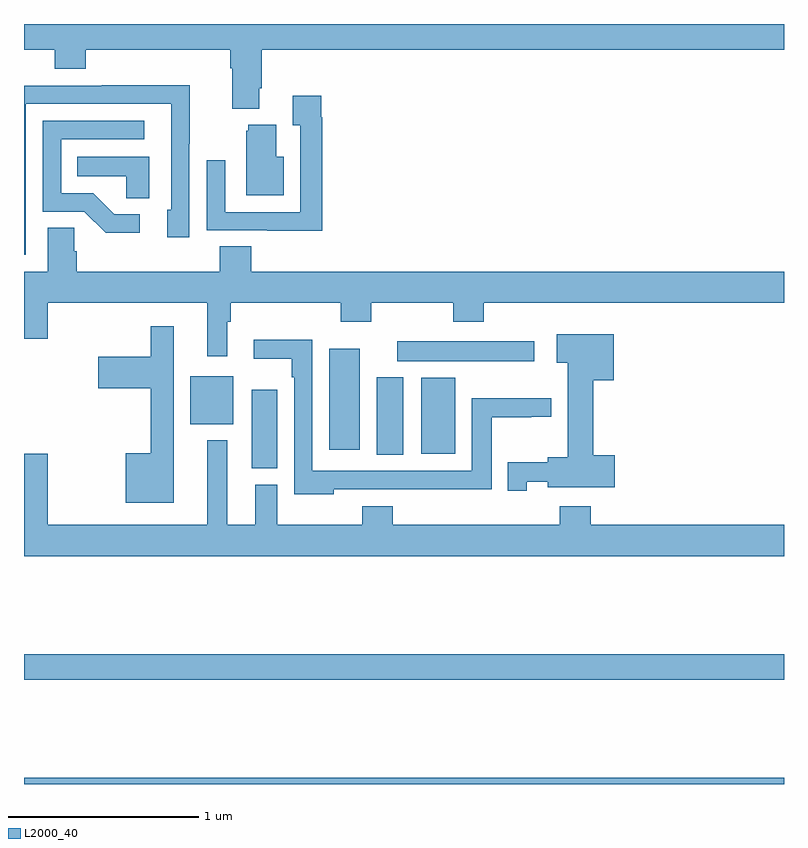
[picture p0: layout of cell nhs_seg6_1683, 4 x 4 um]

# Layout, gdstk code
import gdstk
lib = gdstk.Library(unit=1e-6, precision=1e-09)
def R(c, l, rs):  # rectangles x0, y0, x1, y1
    for r in rs: c.add(gdstk.rectangle(r[:2], r[2:], *l))
def P(c, l, *ps):  # polygons
    for p in ps: c.add(gdstk.Polygon(p, *l))
L2000_40 = (2000, 40)

nhs_seg6_1683 = lib.new_cell('nhs_seg6_1683')
R(nhs_seg6_1683, L2000_40, [(213,915.5,217,915.532), (213,916.048,217,916.184), (214.199,917.161,214.333,917.575), (214.856,917.233,214.996,917.641), (215.09,917.237,215.269,917.638), (214.607,917.259,214.768,917.791), (213.875,917.393,214.102,917.647), (214.965,917.726,215.686,917.83)])
P(nhs_seg6_1683, L2000_40, [(214.237,919.162),(214.25,919.162),(214.25,919.364),(217,919.364),(217,919.5),(213,919.5),(213,919.364),(213.161,919.364),(213.161,919.265),(213.326,919.265),(213.326,919.364),(214.085,919.364),(214.085,919.268),(214.097,919.268),(214.097,919.055),(214.237,919.055)],
  [(213.009,919.08),(213.774,919.08),(213.774,918.522),(213.755,918.522),(213.755,918.378),(213.87,918.378),(213.87,918.871),(213.873,918.871),(213.873,919.178),(213.409,919.178),(213.409,919.176),(213,919.176),(213,918.285),(213.009,918.285)],
  [(214.571,919.01),(214.564,919.01),(214.564,919.123),(214.415,919.123),(214.415,918.967),(214.455,918.967),(214.455,918.51),(214.059,918.51),(214.059,918.784),(213.963,918.784),(213.963,918.414),(214.279,918.414),(214.279,918.413),(214.571,918.413)],
  [(213.61,918.498),(213.475,918.498),(213.364,918.609),(213.195,918.609),(213.195,918.894),(213.634,918.894),(213.634,918.99),(213.099,918.99),(213.099,918.513),(213.318,918.513),(213.431,918.401),(213.61,918.401)],
  [(214.366,918.802),(214.327,918.802),(214.327,918.97),(214.181,918.97),(214.181,918.939),(214.169,918.939),(214.169,918.599),(214.366,918.599)],
  [(213.658,918.802),(213.28,918.802),(213.28,918.698),(213.537,918.698),(213.537,918.583),(213.658,918.583)],
  [(214.069,917.932),(214.087,917.932),(214.087,918.032),(214.667,918.032),(214.667,917.933),(214.827,917.933),(214.827,918.032),(215.26,918.032),(215.26,917.933),(215.42,917.933),(215.42,918.032),(217,918.032),(217,918.196),(214.196,918.196),(214.196,918.329),(214.031,918.329),(214.031,918.196),(213.278,918.196),(213.278,918.305),(213.264,918.305),(213.264,918.428),(213.125,918.428),(213.125,918.196),(213,918.196),(213,917.844),(213.124,917.844),(213.124,918.032),(213.965,918.032),(213.965,917.751),(214.069,917.751)],
  [(213.787,917.908),(213.666,917.908),(213.666,917.749),(213.39,917.749),(213.39,917.584),(213.666,917.584),(213.666,917.242),(213.536,917.242),(213.536,916.979),(213.787,916.979)],
  [(215.646,917.092),(215.756,917.092),(215.756,917.063),(216.109,917.063),(216.109,917.229),(215.996,917.229),(215.996,917.624),(216.103,917.624),(216.103,917.866),(215.805,917.866),(215.805,917.717),(215.861,917.717),(215.861,917.221),(215.756,917.221),(215.756,917.193),(215.546,917.193),(215.546,917.043),(215.646,917.043)],
  [(214.629,917.052),(215.023,917.052),(215.023,917.051),(215.461,917.051),(215.461,917.431),(215.669,917.431),(215.669,917.432),(215.776,917.432),(215.776,917.531),(215.357,917.531),(215.357,917.148),(214.518,917.148),(214.518,917.837),(214.209,917.837),(214.209,917.738),(214.41,917.738),(214.41,917.642),(214.422,917.642),(214.422,917.024),(214.629,917.024)],
  [(217,916.864),(215.984,916.864),(215.984,916.963),(215.819,916.963),(215.819,916.864),(214.94,916.864),(214.94,916.963),(214.78,916.963),(214.78,916.864),(214.333,916.864),(214.333,917.076),(214.217,917.076),(214.217,916.864),(214.069,916.864),(214.069,917.308),(213.965,917.308),(213.965,916.864),(213.124,916.864),(213.124,917.239),(213,917.239),(213,916.7),(217,916.7)])

lib.write_gds('nhs_seg6_1683.gds')
